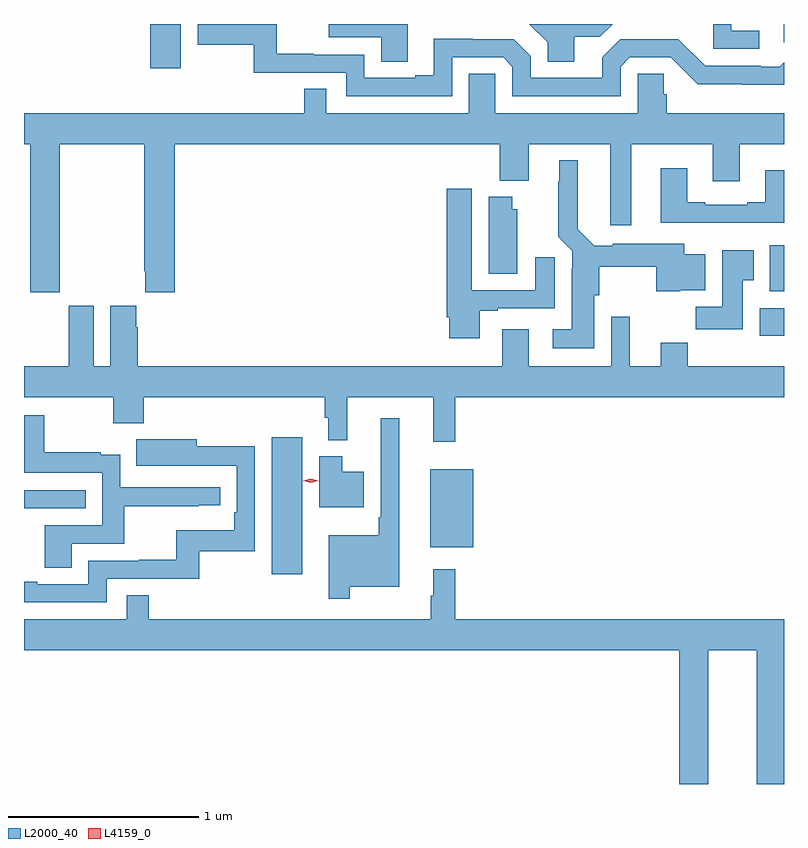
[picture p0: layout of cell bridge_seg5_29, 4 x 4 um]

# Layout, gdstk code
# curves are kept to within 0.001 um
import gdstk
lib = gdstk.Library(unit=1e-6, precision=1e-09)
def R(c, l, rs):  # rectangles x0, y0, x1, y1
    for r in rs: c.add(gdstk.rectangle(r[:2], r[2:], *l))
def P(c, l, *ps):  # polygons
    for p in ps: c.add(gdstk.Polygon(p, *l))
L2000_40 = (2000, 40)
L4159_0 = (4159, 0)

bridge_seg5_29 = lib.new_cell('bridge_seg5_29')
R(bridge_seg5_29, L2000_40, [(948.101,874.476,948.262,875.197), (948.935,874.619,949.162,875.029), (946.797,874.824,947.123,874.92), (950.669,875.732,950.797,875.878), (950.723,875.966,950.797,876.208), (947.462,877.14,947.623,877.373), (950.796,877.278,950.797,877.373)])
P(bridge_seg5_29, L2000_40, [(949.693,877.306),(949.828,877.306),(949.895,877.373),(949.456,877.373),(949.553,877.276),(949.553,877.174),(949.693,877.174)],
  [(948.817,877.373),(948.4,877.373),(948.4,877.302),(948.677,877.302),(948.677,877.174),(948.817,877.174)],
  [(949.05,877.197),(949.32,877.197),(949.368,877.149),(949.368,876.993),(949.938,876.993),(949.938,877.149),(949.986,877.197),(950.202,877.197),(950.344,877.055),(950.58,877.055),(950.58,877.053),(950.797,877.053),(950.797,877.172),(950.774,877.149),(950.675,877.149),(950.675,877.152),(950.382,877.152),(950.241,877.293),(949.935,877.293),(949.841,877.199),(949.841,877.089),(949.464,877.089),(949.464,877.203),(949.374,877.293),(949.158,877.293),(949.158,877.295),(948.953,877.295),(948.953,877.102),(948.857,877.102),(948.857,877.089),(948.588,877.089),(948.588,877.212),(948.323,877.212),(948.323,877.217),(948.127,877.217),(948.127,877.372),(947.712,877.373),(947.712,877.263),(948.006,877.263),(948.006,877.116),(948.492,877.116),(948.492,876.993),(949.05,876.993)],
  [(950.668,877.338),(950.52,877.338),(950.52,877.373),(950.424,877.373),(950.424,877.242),(950.668,877.242)],
  [(946.986,876.74),(947.431,876.74),(947.431,876.073),(947.435,876.073),(947.435,875.961),(947.591,875.961),(947.591,876.74),(949.301,876.74),(949.301,876.548),(949.453,876.548),(949.453,876.74),(949.883,876.74),(949.883,876.315),(949.993,876.315),(949.993,876.74),(950.423,876.74),(950.423,876.546),(950.563,876.546),(950.563,876.74),(950.797,876.74),(950.797,876.904),(950.18,876.904),(950.18,877.002),(950.165,877.002),(950.165,877.112),(950.028,877.112),(950.028,876.904),(949.278,876.904),(949.278,877.112),(949.139,877.112),(949.139,876.904),(948.387,876.904),(948.387,877.031),(948.271,877.031),(948.271,876.904),(946.797,876.904),(946.797,876.74),(946.831,876.74),(946.831,875.961),(946.986,875.961)],
  [(949.798,875.946),(949.824,875.946),(949.824,876.095),(950.125,876.095),(950.125,875.966),(950.25,875.966),(950.25,875.972),(950.383,875.972),(950.383,876.16),(950.272,876.16),(950.272,876.217),(949.896,876.217),(949.896,876.205),(949.797,876.205),(949.711,876.292),(949.711,876.655),(949.613,876.655),(949.613,876.545),(949.609,876.545),(949.609,876.254),(949.683,876.18),(949.683,876.086),(949.679,876.086),(949.679,875.767),(949.581,875.767),(949.581,875.666),(949.798,875.666)],
  [(950.797,876.604),(950.699,876.604),(950.699,876.436),(950.603,876.436),(950.603,876.423),(950.383,876.423),(950.383,876.436),(950.287,876.436),(950.287,876.613),(950.147,876.613),(950.147,876.326),(950.797,876.326)],
  [(949.195,875.865),(949.291,875.865),(949.291,875.877),(949.591,875.877),(949.591,876.145),(949.487,876.145),(949.487,875.973),(949.153,875.973),(949.153,876.505),(949.022,876.505),(949.022,875.83),(949.034,875.83),(949.034,875.718),(949.195,875.718)],
  [(949.393,876.399),(949.366,876.399),(949.366,876.463),(949.244,876.463),(949.244,876.058),(949.393,876.058)],
  [(950.581,876.025),(950.638,876.025),(950.638,876.181),(950.471,876.181),(950.471,875.884),(950.332,875.884),(950.332,875.766),(950.581,875.766)],
  [(947.266,875.273),(947.426,875.273),(947.426,875.408),(948.379,875.408),(948.379,875.301),(948.398,875.301),(948.398,875.183),(948.497,875.183),(948.497,875.408),(948.95,875.408),(948.95,875.175),(949.067,875.175),(949.067,875.408),(950.797,875.408),(950.797,875.572),(950.291,875.572),(950.291,875.696),(950.147,875.696),(950.147,875.572),(949.984,875.572),(949.984,875.833),(949.887,875.833),(949.887,875.572),(949.453,875.572),(949.453,875.767),(949.313,875.767),(949.313,875.572),(947.396,875.572),(947.396,875.777),(947.389,875.777),(947.389,875.89),(947.252,875.89),(947.252,875.572),(947.164,875.572),(947.164,875.89),(947.033,875.89),(947.033,875.572),(946.797,875.572),(946.797,875.408),(947.266,875.408)],
  [(947.047,874.638),(947.324,874.638),(947.324,874.834),(947.717,874.834),(947.717,874.839),(947.83,874.839),(947.83,874.935),(947.304,874.935),(947.304,875.107),(947.201,875.107),(947.201,875.119),(946.903,875.119),(946.903,875.313),(946.797,875.313),(946.797,875.01),(947.208,875.01),(947.208,874.734),(946.907,874.734),(946.907,874.51),(947.047,874.51)],
  [(948.511,874.412),(948.772,874.412),(948.772,875.299),(948.675,875.299),(948.675,874.777),(948.663,874.777),(948.663,874.681),(948.402,874.681),(948.402,874.347),(948.511,874.347)],
  [(947.232,874.452),(947.719,874.452),(947.719,874.599),(948.012,874.599),(948.012,875.15),(947.707,875.15),(947.707,875.188),(947.389,875.188),(947.389,875.048),(947.603,875.048),(947.603,875.049),(947.916,875.049),(947.916,874.804),(947.903,874.804),(947.903,874.708),(947.598,874.708),(947.598,874.553),(947.401,874.553),(947.401,874.548),(947.136,874.548),(947.136,874.425),(946.867,874.425),(946.867,874.438),(946.797,874.438),(946.797,874.329),(947.232,874.329)],
  [(948.586,875.017),(948.472,875.017),(948.472,875.098),(948.35,875.098),(948.35,874.829),(948.586,874.829)],
  [(950.398,874.076),(950.654,874.076),(950.654,873.373),(950.797,873.373),(950.797,874.24),(949.067,874.24),(949.067,874.504),(948.95,874.504),(948.95,874.364),(948.939,874.364),(948.939,874.24),(947.453,874.24),(947.453,874.367),(947.337,874.367),(947.337,874.24),(946.797,874.24),(946.797,874.076),(950.246,874.076),(950.246,873.373),(950.398,873.373)])
P(bridge_seg5_29, L4159_0, [(948.306,874.959),(948.266,874.969),(948.266,874.969),(948.266,874.969),(948.306,874.979),(948.346,874.969),(948.346,874.969),(948.346,874.968)])

lib.write_gds('bridge_seg5_29.gds')
